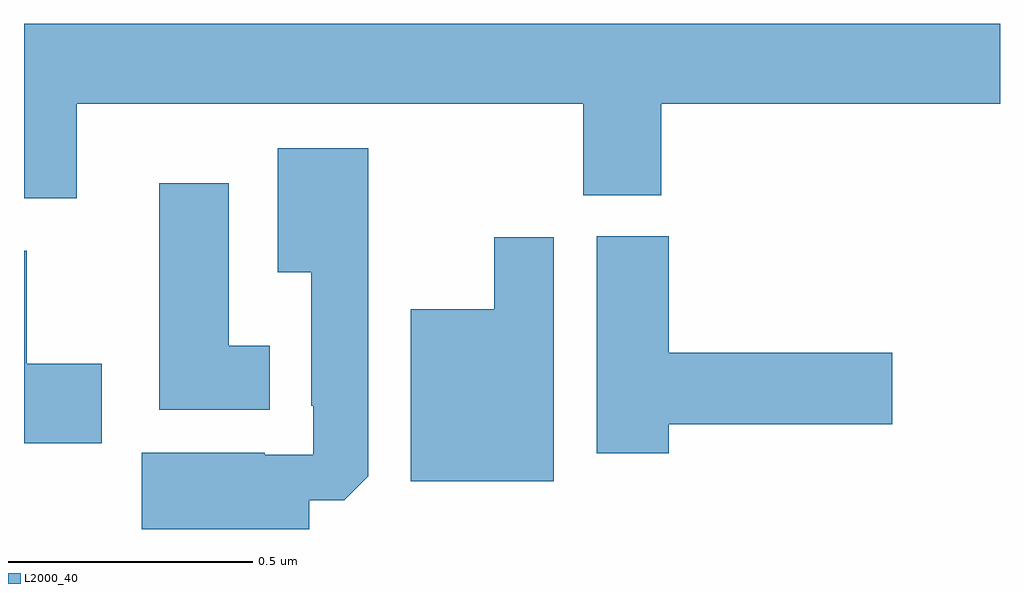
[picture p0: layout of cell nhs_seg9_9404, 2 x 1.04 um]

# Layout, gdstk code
import gdstk
lib = gdstk.Library(unit=1e-6, precision=1e-09)
def P(c, l, *ps):  # polygons
    for p in ps: c.add(gdstk.Polygon(p, *l))
L2000_40 = (2000, 40)

nhs_seg9_9404 = lib.new_cell('nhs_seg9_9404')
P(nhs_seg9_9404, L2000_40, [(229.108,1244.372),(230.146,1244.372),(230.146,1244.185),(230.306,1244.185),(230.306,1244.372),(231,1244.372),(231,1244.536),(229,1244.536),(229,1244.178),(229.108,1244.178)],
  [(229.585,1243.56),(229.656,1243.56),(229.705,1243.609),(229.705,1244.281),(229.52,1244.281),(229.52,1244.027),(229.589,1244.027),(229.589,1243.753),(229.593,1243.753),(229.593,1243.653),(229.493,1243.653),(229.493,1243.657),(229.241,1243.657),(229.241,1243.5),(229.585,1243.5)],
  [(229.504,1243.876),(229.42,1243.876),(229.42,1244.209),(229.277,1244.209),(229.277,1243.745),(229.504,1243.745)],
  [(230.321,1243.715),(230.779,1243.715),(230.779,1243.862),(230.321,1243.862),(230.321,1244.1),(230.174,1244.1),(230.174,1243.656),(230.321,1243.656)],
  [(230.086,1244.098),(229.964,1244.098),(229.964,1243.951),(229.793,1243.951),(229.793,1243.598),(230.086,1243.598)],
  [(229.159,1243.839),(229.006,1243.839),(229.006,1244.071),(229,1244.071),(229,1243.676),(229.159,1243.676)])

lib.write_gds('nhs_seg9_9404.gds')
